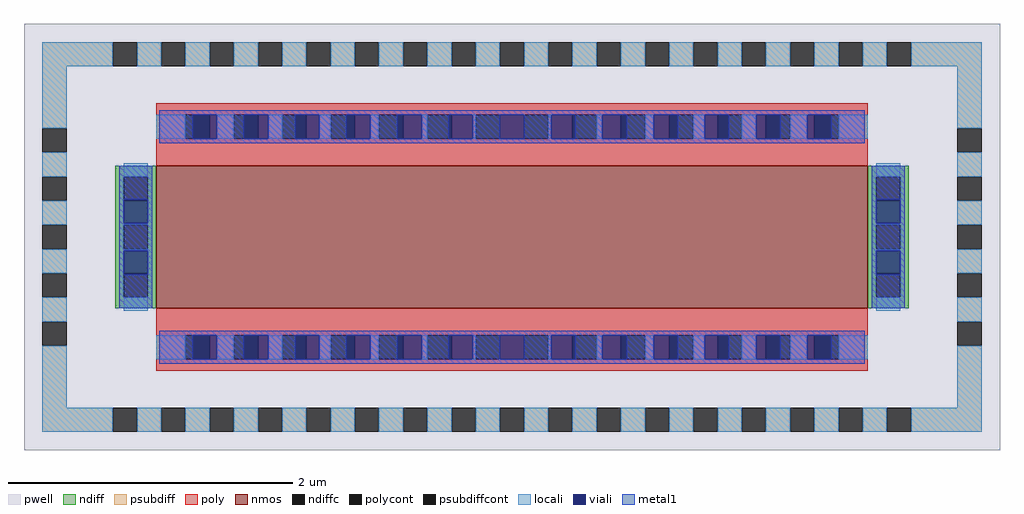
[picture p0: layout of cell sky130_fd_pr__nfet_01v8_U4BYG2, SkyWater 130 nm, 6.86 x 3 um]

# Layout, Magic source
magic
tech sky130A
magscale 1 2
<< pwell >>
rect -686 -300 686 300
<< nmos >>
rect -500 -100 500 100
<< ndiff >>
rect -558 85 -500 100
rect -558 51 -546 85
rect -512 51 -500 85
rect -558 17 -500 51
rect -558 -17 -546 17
rect -512 -17 -500 17
rect -558 -51 -500 -17
rect -558 -85 -546 -51
rect -512 -85 -500 -51
rect -558 -100 -500 -85
rect 500 85 558 100
rect 500 51 512 85
rect 546 51 558 85
rect 500 17 558 51
rect 500 -17 512 17
rect 546 -17 558 17
rect 500 -51 558 -17
rect 500 -85 512 -51
rect 546 -85 558 -51
rect 500 -100 558 -85
<< ndiffc >>
rect -546 51 -512 85
rect -546 -17 -512 17
rect -546 -85 -512 -51
rect 512 51 546 85
rect 512 -17 546 17
rect 512 -85 546 -51
<< psubdiff >>
rect -660 240 -561 274
rect -527 240 -493 274
rect -459 240 -425 274
rect -391 240 -357 274
rect -323 240 -289 274
rect -255 240 -221 274
rect -187 240 -153 274
rect -119 240 -85 274
rect -51 240 -17 274
rect 17 240 51 274
rect 85 240 119 274
rect 153 240 187 274
rect 221 240 255 274
rect 289 240 323 274
rect 357 240 391 274
rect 425 240 459 274
rect 493 240 527 274
rect 561 240 660 274
rect -660 153 -626 240
rect -660 85 -626 119
rect 626 153 660 240
rect -660 17 -626 51
rect -660 -51 -626 -17
rect -660 -119 -626 -85
rect 626 85 660 119
rect 626 17 660 51
rect 626 -51 660 -17
rect -660 -240 -626 -153
rect 626 -119 660 -85
rect 626 -240 660 -153
rect -660 -274 -561 -240
rect -527 -274 -493 -240
rect -459 -274 -425 -240
rect -391 -274 -357 -240
rect -323 -274 -289 -240
rect -255 -274 -221 -240
rect -187 -274 -153 -240
rect -119 -274 -85 -240
rect -51 -274 -17 -240
rect 17 -274 51 -240
rect 85 -274 119 -240
rect 153 -274 187 -240
rect 221 -274 255 -240
rect 289 -274 323 -240
rect 357 -274 391 -240
rect 425 -274 459 -240
rect 493 -274 527 -240
rect 561 -274 660 -240
<< psubdiffcont >>
rect -561 240 -527 274
rect -493 240 -459 274
rect -425 240 -391 274
rect -357 240 -323 274
rect -289 240 -255 274
rect -221 240 -187 274
rect -153 240 -119 274
rect -85 240 -51 274
rect -17 240 17 274
rect 51 240 85 274
rect 119 240 153 274
rect 187 240 221 274
rect 255 240 289 274
rect 323 240 357 274
rect 391 240 425 274
rect 459 240 493 274
rect 527 240 561 274
rect -660 119 -626 153
rect 626 119 660 153
rect -660 51 -626 85
rect -660 -17 -626 17
rect -660 -85 -626 -51
rect 626 51 660 85
rect 626 -17 660 17
rect 626 -85 660 -51
rect -660 -153 -626 -119
rect 626 -153 660 -119
rect -561 -274 -527 -240
rect -493 -274 -459 -240
rect -425 -274 -391 -240
rect -357 -274 -323 -240
rect -289 -274 -255 -240
rect -221 -274 -187 -240
rect -153 -274 -119 -240
rect -85 -274 -51 -240
rect -17 -274 17 -240
rect 51 -274 85 -240
rect 119 -274 153 -240
rect 187 -274 221 -240
rect 255 -274 289 -240
rect 323 -274 357 -240
rect 391 -274 425 -240
rect 459 -274 493 -240
rect 527 -274 561 -240
<< poly >>
rect -500 172 500 188
rect -500 138 -459 172
rect -425 138 -391 172
rect -357 138 -323 172
rect -289 138 -255 172
rect -221 138 -187 172
rect -153 138 -119 172
rect -85 138 -51 172
rect -17 138 17 172
rect 51 138 85 172
rect 119 138 153 172
rect 187 138 221 172
rect 255 138 289 172
rect 323 138 357 172
rect 391 138 425 172
rect 459 138 500 172
rect -500 100 500 138
rect -500 -138 500 -100
rect -500 -172 -459 -138
rect -425 -172 -391 -138
rect -357 -172 -323 -138
rect -289 -172 -255 -138
rect -221 -172 -187 -138
rect -153 -172 -119 -138
rect -85 -172 -51 -138
rect -17 -172 17 -138
rect 51 -172 85 -138
rect 119 -172 153 -138
rect 187 -172 221 -138
rect 255 -172 289 -138
rect 323 -172 357 -138
rect 391 -172 425 -138
rect 459 -172 500 -138
rect -500 -188 500 -172
<< polycont >>
rect -459 138 -425 172
rect -391 138 -357 172
rect -323 138 -289 172
rect -255 138 -221 172
rect -187 138 -153 172
rect -119 138 -85 172
rect -51 138 -17 172
rect 17 138 51 172
rect 85 138 119 172
rect 153 138 187 172
rect 221 138 255 172
rect 289 138 323 172
rect 357 138 391 172
rect 425 138 459 172
rect -459 -172 -425 -138
rect -391 -172 -357 -138
rect -323 -172 -289 -138
rect -255 -172 -221 -138
rect -187 -172 -153 -138
rect -119 -172 -85 -138
rect -51 -172 -17 -138
rect 17 -172 51 -138
rect 85 -172 119 -138
rect 153 -172 187 -138
rect 221 -172 255 -138
rect 289 -172 323 -138
rect 357 -172 391 -138
rect 425 -172 459 -138
<< locali >>
rect -660 240 -561 274
rect -527 240 -493 274
rect -459 240 -425 274
rect -391 240 -357 274
rect -323 240 -289 274
rect -255 240 -221 274
rect -187 240 -153 274
rect -119 240 -85 274
rect -51 240 -17 274
rect 17 240 51 274
rect 85 240 119 274
rect 153 240 187 274
rect 221 240 255 274
rect 289 240 323 274
rect 357 240 391 274
rect 425 240 459 274
rect 493 240 527 274
rect 561 240 660 274
rect -660 153 -626 240
rect -500 138 -459 172
rect -415 138 -391 172
rect -343 138 -323 172
rect -271 138 -255 172
rect -199 138 -187 172
rect -127 138 -119 172
rect -55 138 -51 172
rect 51 138 55 172
rect 119 138 127 172
rect 187 138 199 172
rect 255 138 271 172
rect 323 138 343 172
rect 391 138 415 172
rect 459 138 500 172
rect 626 153 660 240
rect -660 85 -626 119
rect -660 17 -626 51
rect -660 -51 -626 -17
rect -660 -119 -626 -85
rect -546 85 -512 104
rect -546 17 -512 19
rect -546 -19 -512 -17
rect -546 -104 -512 -85
rect 512 85 546 104
rect 512 17 546 19
rect 512 -19 546 -17
rect 512 -104 546 -85
rect 626 85 660 119
rect 626 17 660 51
rect 626 -51 660 -17
rect 626 -119 660 -85
rect -660 -240 -626 -153
rect -500 -172 -459 -138
rect -415 -172 -391 -138
rect -343 -172 -323 -138
rect -271 -172 -255 -138
rect -199 -172 -187 -138
rect -127 -172 -119 -138
rect -55 -172 -51 -138
rect 51 -172 55 -138
rect 119 -172 127 -138
rect 187 -172 199 -138
rect 255 -172 271 -138
rect 323 -172 343 -138
rect 391 -172 415 -138
rect 459 -172 500 -138
rect 626 -240 660 -153
rect -660 -274 -561 -240
rect -527 -274 -493 -240
rect -459 -274 -425 -240
rect -391 -274 -357 -240
rect -323 -274 -289 -240
rect -255 -274 -221 -240
rect -187 -274 -153 -240
rect -119 -274 -85 -240
rect -51 -274 -17 -240
rect 17 -274 51 -240
rect 85 -274 119 -240
rect 153 -274 187 -240
rect 221 -274 255 -240
rect 289 -274 323 -240
rect 357 -274 391 -240
rect 425 -274 459 -240
rect 493 -274 527 -240
rect 561 -274 660 -240
<< viali >>
rect -449 138 -425 172
rect -425 138 -415 172
rect -377 138 -357 172
rect -357 138 -343 172
rect -305 138 -289 172
rect -289 138 -271 172
rect -233 138 -221 172
rect -221 138 -199 172
rect -161 138 -153 172
rect -153 138 -127 172
rect -89 138 -85 172
rect -85 138 -55 172
rect -17 138 17 172
rect 55 138 85 172
rect 85 138 89 172
rect 127 138 153 172
rect 153 138 161 172
rect 199 138 221 172
rect 221 138 233 172
rect 271 138 289 172
rect 289 138 305 172
rect 343 138 357 172
rect 357 138 377 172
rect 415 138 425 172
rect 425 138 449 172
rect -546 51 -512 53
rect -546 19 -512 51
rect -546 -51 -512 -19
rect -546 -53 -512 -51
rect 512 51 546 53
rect 512 19 546 51
rect 512 -51 546 -19
rect 512 -53 546 -51
rect -449 -172 -425 -138
rect -425 -172 -415 -138
rect -377 -172 -357 -138
rect -357 -172 -343 -138
rect -305 -172 -289 -138
rect -289 -172 -271 -138
rect -233 -172 -221 -138
rect -221 -172 -199 -138
rect -161 -172 -153 -138
rect -153 -172 -127 -138
rect -89 -172 -85 -138
rect -85 -172 -55 -138
rect -17 -172 17 -138
rect 55 -172 85 -138
rect 85 -172 89 -138
rect 127 -172 153 -138
rect 153 -172 161 -138
rect 199 -172 221 -138
rect 221 -172 233 -138
rect 271 -172 289 -138
rect 289 -172 305 -138
rect 343 -172 357 -138
rect 357 -172 377 -138
rect 415 -172 425 -138
rect 425 -172 449 -138
<< metal1 >>
rect -496 172 496 178
rect -496 138 -449 172
rect -415 138 -377 172
rect -343 138 -305 172
rect -271 138 -233 172
rect -199 138 -161 172
rect -127 138 -89 172
rect -55 138 -17 172
rect 17 138 55 172
rect 89 138 127 172
rect 161 138 199 172
rect 233 138 271 172
rect 305 138 343 172
rect 377 138 415 172
rect 449 138 496 172
rect -496 132 496 138
rect -552 53 -506 100
rect -552 19 -546 53
rect -512 19 -506 53
rect -552 -19 -506 19
rect -552 -53 -546 -19
rect -512 -53 -506 -19
rect -552 -100 -506 -53
rect 506 53 552 100
rect 506 19 512 53
rect 546 19 552 53
rect 506 -19 552 19
rect 506 -53 512 -19
rect 546 -53 552 -19
rect 506 -100 552 -53
rect -496 -138 496 -132
rect -496 -172 -449 -138
rect -415 -172 -377 -138
rect -343 -172 -305 -138
rect -271 -172 -233 -138
rect -199 -172 -161 -138
rect -127 -172 -89 -138
rect -55 -172 -17 -138
rect 17 -172 55 -138
rect 89 -172 127 -138
rect 161 -172 199 -138
rect 233 -172 271 -138
rect 305 -172 343 -138
rect 377 -172 415 -138
rect 449 -172 496 -138
rect -496 -178 496 -172
<< properties >>
string FIXED_BBOX -642 -256 642 256
<< end >>
